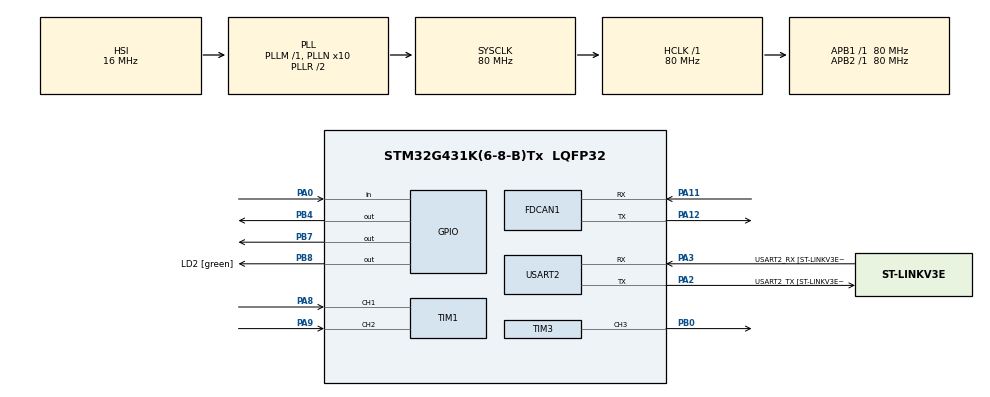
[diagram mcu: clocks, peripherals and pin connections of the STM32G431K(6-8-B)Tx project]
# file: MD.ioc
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FDCAN1.CalculateBaudRateNominal=1000000
FDCAN1.CalculateTimeBitNominal=1000
FDCAN1.CalculateTimeQuantumNominal=62.5
FDCAN1.DataPrescaler=5
FDCAN1.DataSyncJumpWidth=13
FDCAN1.DataTimeSeg1=10
FDCAN1.DataTimeSeg2=9
FDCAN1.FrameFormat=FDCAN_FRAME_FD_BRS
FDCAN1.NominalPrescaler=5
FDCAN1.NominalSyncJumpWidth=2
FDCAN1.NominalTimeSeg1=13
FDCAN1.NominalTimeSeg2=2
FDCAN1.StdFiltersNbr=1
Mcu.Family=STM32G4
Mcu.Name=STM32G431K(6-8-B)Tx
Mcu.Package=LQFP32
NVIC.FDCAN1_IT0_IRQn=true\:0\:0\:false\:false\:true\:true\:true\:true
NVIC.PriorityGroup=NVIC_PRIORITYGROUP_4
NVIC.TIM1_TRG_COM_TIM17_IRQn=true\:15\:0\:false\:false\:true\:false\:true\:true
NVIC.TIM2_IRQn=true\:0\:0\:false\:false\:true\:true\:true\:true
NVIC.TIM4_IRQn=true\:0\:0\:false\:false\:true\:true\:true\:true
NVIC.TimeBase=TIM1_TRG_COM_TIM17_IRQn
NVIC.TimeBaseIP=TIM17
NVIC.USART2_IRQn=true\:0\:0\:false\:false\:true\:true\:true\:true
PA0.GPIO_PuPd=GPIO_PULLDOWN
PA0.Signal=GPIO_Input
PA11.Mode=FDCAN_Activate
PA11.Signal=FDCAN1_RX
PA12.Mode=FDCAN_Activate
PA12.Signal=FDCAN1_TX
PA13.GPIO_Label=T_SWDIO
PA13.Mode=Serial_Wire
PA13.Signal=SYS_JTMS-SWDIO
PA14.GPIO_Label=T_SWCLK
PA14.Mode=Serial_Wire
PA14.Signal=SYS_JTCK-SWCLK
PA2.GPIO_Label=USART2_TX [ST-LINKV3E_VCP_RX]
PA2.Mode=Asynchronous
PA2.Signal=USART2_TX
PA3.GPIO_Label=USART2_RX [ST-LINKV3E_VCP_TX]
PA3.Mode=Asynchronous
PA3.Signal=USART2_RX
PA8.GPIO_PuPd=GPIO_PULLUP
PA8.Signal=S_TIM1_CH1
PA9.GPIO_PuPd=GPIO_PULLUP
PA9.Signal=S_TIM1_CH2
PB0.Signal=S_TIM3_CH3
PB3.GPIO_Label=T_SWO
PB3.Signal=SYS_JTDO-SWO
PB4.Signal=GPIO_Output
PB7.Signal=GPIO_Output
PB8-BOOT0.GPIO_Label=LD2 [green]
PB8-BOOT0.Signal=GPIO_Output
ProjectManager.HeapSize=0x200
ProjectManager.StackSize=0x400
ProjectManager.TargetToolchain=STM32CubeIDE
RCC.ADC12Freq_Value=80000000
RCC.AHBFreq_Value=80000000
RCC.APB1Freq_Value=80000000
RCC.APB1TimFreq_Value=80000000
RCC.APB2Freq_Value=80000000
RCC.APB2TimFreq_Value=80000000
RCC.CortexFreq_Value=80000000
RCC.EXTERNAL_CLOCK_VALUE=12288000
RCC.HCLKFreq_Value=80000000
RCC.HSE_VALUE=8000000
RCC.HSI48_VALUE=48000000
RCC.HSI_VALUE=16000000
RCC.LSE_VALUE=32768
RCC.PLLN=10
RCC.SYSCLKFreq_VALUE=80000000
RCC.SYSCLKSource=RCC_SYSCLKSOURCE_PLLCLK
RCC.USBFreq_Value=80000000
RCC.VCOOutputFreq_Value=160000000
SH.S_TIM1_CH1.0=TIM1_CH1,Encoder_Interface
SH.S_TIM1_CH2.0=TIM1_CH2,Encoder_Interface
SH.S_TIM3_CH3.0=TIM3_CH3,PWM Generation3 CH3
TIM1.EncoderMode=TIM_ENCODERMODE_TI12
TIM2.PeriodNoDither=10000-1
TIM2.Prescaler=80-1
TIM3.Channel-PWM\ Generation3\ CH3=TIM_CHANNEL_3
TIM3.PeriodNoDither=999
TIM3.Prescaler=8-1
TIM4.PeriodNoDither=9999
TIM4.Prescaler=160-1
USART2.VirtualMode-Asynchronous=VM_ASYNC
USART2.WordLength=WORDLENGTH_8B
VP_SYS_VS_tim17.Mode=TIM17
VP_TIM2_VS_ClockSourceINT.Mode=Internal
VP_TIM3_VS_ClockSourceINT.Mode=Internal
VP_TIM4_VS_ClockSourceINT.Mode=Internal
board=NUCLEO-G431KB

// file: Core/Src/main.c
/* USER CODE BEGIN Header */
/**
  ******************************************************************************
  * @file           : main.c
  * @brief          : Main program body
  ******************************************************************************
  * @attention
  *
  * Copyright (c) 2023 STMicroelectronics.
  * All rights reserved.
  *
  * This software is licensed under terms that can be found in the LICENSE file
  * in the root directory of this software component.
  * If no LICENSE file comes with this software, it is provided AS-IS.
  *
  ******************************************************************************
  */
/* USER CODE END Header */
#include "main.h"

/* USER CODE BEGIN Includes */
#include "stdlib.h"
#include "stdio.h"
#include "PID.h"
/* USER CODE END Includes */

/* USER CODE BEGIN PD */
#define ENCODER_PR 2000
#define PULLEY_RATIO 0.21f
#define FILTER_C 0.8f
#define POWER_LMT 350

#define kp 23.0f
#define ki 18.0f
#define kd 1.5f

#define POLARITY 0

#define UART_BUF_LEN 3

/* USER CODE END PD */

FDCAN_HandleTypeDef hfdcan1;

TIM_HandleTypeDef htim1;
TIM_HandleTypeDef htim2;
TIM_HandleTypeDef htim3;
TIM_HandleTypeDef htim4;

UART_HandleTypeDef huart2;

/* USER CODE BEGIN PV */

PIDparamshandleTypeDef hpid = {0}; // PID no tameno hensuu wo matometa yatsu (ER no dokusute 2ch MD no nagori)

float angle = 0; //Jissai no kakudo unit:degree
float target = 0; // Mokuhyou kakudo unit:degree
/* PID ga ugoiteiru aida ha "angle" wo "target" no atai ni siyou to suru */

int16_t enc_buff = 0;

int duty = 0;

uint8_t uart_buf[UART_BUF_LEN];
/* USER CODE END PV */

void SystemClock_Config(void);
static void MX_GPIO_Init(void);
static void MX_TIM1_Init(void);
static void MX_USART2_UART_Init(void);
static void MX_TIM3_Init(void);
static void MX_TIM2_Init(void);
static void MX_TIM4_Init(void);
static void MX_FDCAN1_Init(void);
/* USER CODE BEGIN PFP */
void find_origin();
/* USER CODE END PFP */

int main(void)
{
  /* USER CODE BEGIN 1 */
  setbuf(stdout, NULL);
  /* USER CODE END 1 */

  /* MCU Configuration--------------------------------------------------------*/

  /* Reset of all peripherals, Initializes the Flash interface and the Systick. */
  HAL_Init();

  /* Configure the system clock */
  SystemClock_Config();

  /* Initialize all configured peripherals */
  MX_GPIO_Init();
  MX_TIM1_Init();
  MX_USART2_UART_Init();
  MX_TIM3_Init();
  MX_TIM2_Init();
  MX_TIM4_Init();
  MX_FDCAN1_Init();
  /* USER CODE BEGIN 2 */
  SETPIDGAIN(&hpid, kp, ki, kd);

  HAL_TIM_PWM_Start(&htim3, TIM_CHANNEL_3);
  find_origin();
  HAL_TIM_Encoder_Start(&htim1, TIM_CHANNEL_ALL);
  HAL_TIM_Base_Start_IT(&htim2); // PID control
  HAL_TIM_Base_Start_IT(&htim4);

  HAL_UART_Receive_IT(&huart2, uart_buf, UART_BUF_LEN);
  /* USER CODE END 2 */

  /* Infinite loop */
  /* USER CODE BEGIN WHILE */
  while (1)
  {
//    __HAL_TIM_SET_COMPARE(&htim3, TIM_CHANNEL_3, 200);
    /* USER CODE END WHILE */

  }
}

void SystemClock_Config(void)
{
  RCC_OscInitTypeDef RCC_OscInitStruct = {0};
  RCC_ClkInitTypeDef RCC_ClkInitStruct = {0};

  /** Configure the main internal regulator output voltage
  */
  HAL_PWREx_ControlVoltageScaling(PWR_REGULATOR_VOLTAGE_SCALE1);

  /** Initializes the RCC Oscillators according to the specified parameters
  * in the RCC_OscInitTypeDef structure.
  */
  RCC_OscInitStruct.OscillatorType = RCC_OSCILLATORTYPE_HSI;
  RCC_OscInitStruct.HSIState = RCC_HSI_ON;
  RCC_OscInitStruct.HSICalibrationValue = RCC_HSICALIBRATION_DEFAULT;
  RCC_OscInitStruct.PLL.PLLState = RCC_PLL_ON;
  RCC_OscInitStruct.PLL.PLLSource = RCC_PLLSOURCE_HSI;
  RCC_OscInitStruct.PLL.PLLM = RCC_PLLM_DIV1;
  RCC_OscInitStruct.PLL.PLLN = 10;
  RCC_OscInitStruct.PLL.PLLP = RCC_PLLP_DIV2;
  RCC_OscInitStruct.PLL.PLLQ = RCC_PLLQ_DIV2;
  RCC_OscInitStruct.PLL.PLLR = RCC_PLLR_DIV2;
  if (HAL_RCC_OscConfig(&RCC_OscInitStruct) != HAL_OK)
  {
    Error_Handler();
  }

  /** Initializes the CPU, AHB and APB buses clocks
  */
  RCC_ClkInitStruct.ClockType = RCC_CLOCKTYPE_HCLK|RCC_CLOCKTYPE_SYSCLK
                              |RCC_CLOCKTYPE_PCLK1|RCC_CLOCKTYPE_PCLK2;
  RCC_ClkInitStruct.SYSCLKSource = RCC_SYSCLKSOURCE_PLLCLK;
  RCC_ClkInitStruct.AHBCLKDivider = RCC_SYSCLK_DIV1;
  RCC_ClkInitStruct.APB1CLKDivider = RCC_HCLK_DIV1;
  RCC_ClkInitStruct.APB2CLKDivider = RCC_HCLK_DIV1;

  if (HAL_RCC_ClockConfig(&RCC_ClkInitStruct, FLASH_LATENCY_2) != HAL_OK)
  {
    Error_Handler();
  }
}

static void MX_FDCAN1_Init(void)
{

  hfdcan1.Instance = FDCAN1;
  hfdcan1.Init.ClockDivider = FDCAN_CLOCK_DIV1;
  hfdcan1.Init.FrameFormat = FDCAN_FRAME_FD_BRS;
  hfdcan1.Init.Mode = FDCAN_MODE_NORMAL;
  hfdcan1.Init.AutoRetransmission = DISABLE;
  hfdcan1.Init.TransmitPause = DISABLE;
  hfdcan1.Init.ProtocolException = DISABLE;
  hfdcan1.Init.NominalPrescaler = 5;
  hfdcan1.Init.NominalSyncJumpWidth = 2;
  hfdcan1.Init.NominalTimeSeg1 = 13;
  hfdcan1.Init.NominalTimeSeg2 = 2;
  hfdcan1.Init.DataPrescaler = 5;
  hfdcan1.Init.DataSyncJumpWidth = 13;
  hfdcan1.Init.DataTimeSeg1 = 10;
  hfdcan1.Init.DataTimeSeg2 = 9;
  hfdcan1.Init.StdFiltersNbr = 1;
  hfdcan1.Init.ExtFiltersNbr = 0;
  hfdcan1.Init.TxFifoQueueMode = FDCAN_TX_FIFO_OPERATION;
  if (HAL_FDCAN_Init(&hfdcan1) != HAL_OK)
  {
    Error_Handler();
  }

}

static void MX_TIM1_Init(void)
{

  TIM_Encoder_InitTypeDef sConfig = {0};
  TIM_MasterConfigTypeDef sMasterConfig = {0};

  htim1.Instance = TIM1;
  htim1.Init.Prescaler = 0;
  htim1.Init.CounterMode = TIM_COUNTERMODE_UP;
  htim1.Init.Period = 65535;
  htim1.Init.ClockDivision = TIM_CLOCKDIVISION_DIV1;
  htim1.Init.RepetitionCounter = 0;
  htim1.Init.AutoReloadPreload = TIM_AUTORELOAD_PRELOAD_DISABLE;
  sConfig.EncoderMode = TIM_ENCODERMODE_TI12;
  sConfig.IC1Polarity = TIM_ICPOLARITY_RISING;
  sConfig.IC1Selection = TIM_ICSELECTION_DIRECTTI;
  sConfig.IC1Prescaler = TIM_ICPSC_DIV1;
  sConfig.IC1Filter = 0;
  sConfig.IC2Polarity = TIM_ICPOLARITY_RISING;
  sConfig.IC2Selection = TIM_ICSELECTION_DIRECTTI;
  sConfig.IC2Prescaler = TIM_ICPSC_DIV1;
  sConfig.IC2Filter = 0;
  if (HAL_TIM_Encoder_Init(&htim1, &sConfig) != HAL_OK)
  {
    Error_Handler();
  }
  sMasterConfig.MasterOutputTrigger = TIM_TRGO_RESET;
  sMasterConfig.MasterOutputTrigger2 = TIM_TRGO2_RESET;
  sMasterConfig.MasterSlaveMode = TIM_MASTERSLAVEMODE_DISABLE;
  if (HAL_TIMEx_MasterConfigSynchronization(&htim1, &sMasterConfig) != HAL_OK)
  {
    Error_Handler();
  }

}

static void MX_TIM2_Init(void)
{

  TIM_ClockConfigTypeDef sClockSourceConfig = {0};
  TIM_MasterConfigTypeDef sMasterConfig = {0};

  htim2.Instance = TIM2;
  htim2.Init.Prescaler = 80-1;
  htim2.Init.CounterMode = TIM_COUNTERMODE_UP;
  htim2.Init.Period = 9999;
  htim2.Init.ClockDivision = TIM_CLOCKDIVISION_DIV1;
  htim2.Init.AutoReloadPreload = TIM_AUTORELOAD_PRELOAD_DISABLE;
  if (HAL_TIM_Base_Init(&htim2) != HAL_OK)
  {
    Error_Handler();
  }
  sClockSourceConfig.ClockSource = TIM_CLOCKSOURCE_INTERNAL;
  if (HAL_TIM_ConfigClockSource(&htim2, &sClockSourceConfig) != HAL_OK)
  {
    Error_Handler();
  }
  sMasterConfig.MasterOutputTrigger = TIM_TRGO_RESET;
  sMasterConfig.MasterSlaveMode = TIM_MASTERSLAVEMODE_DISABLE;
  if (HAL_TIMEx_MasterConfigSynchronization(&htim2, &sMasterConfig) != HAL_OK)
  {
    Error_Handler();
  }

}

static void MX_TIM3_Init(void)
{

  TIM_ClockConfigTypeDef sClockSourceConfig = {0};
  TIM_MasterConfigTypeDef sMasterConfig = {0};
  TIM_OC_InitTypeDef sConfigOC = {0};

  htim3.Instance = TIM3;
  htim3.Init.Prescaler = 8-1;
  htim3.Init.CounterMode = TIM_COUNTERMODE_UP;
  htim3.Init.Period = 999;
  htim3.Init.ClockDivision = TIM_CLOCKDIVISION_DIV1;
  htim3.Init.AutoReloadPreload = TIM_AUTORELOAD_PRELOAD_DISABLE;
  if (HAL_TIM_Base_Init(&htim3) != HAL_OK)
  {
    Error_Handler();
  }
  sClockSourceConfig.ClockSource = TIM_CLOCKSOURCE_INTERNAL;
  if (HAL_TIM_ConfigClockSource(&htim3, &sClockSourceConfig) != HAL_OK)
  {
    Error_Handler();
  }
  if (HAL_TIM_PWM_Init(&htim3) != HAL_OK)
  {
    Error_Handler();
  }
  sMasterConfig.MasterOutputTrigger = TIM_TRGO_RESET;
  sMasterConfig.MasterSlaveMode = TIM_MASTERSLAVEMODE_DISABLE;
  if (HAL_TIMEx_MasterConfigSynchronization(&htim3, &sMasterConfig) != HAL_OK)
  {
    Error_Handler();
  }
  sConfigOC.OCMode = TIM_OCMODE_PWM1;
  sConfigOC.Pulse = 0;
  sConfigOC.OCPolarity = TIM_OCPOLARITY_HIGH;
  sConfigOC.OCFastMode = TIM_OCFAST_DISABLE;
  if (HAL_TIM_PWM_ConfigChannel(&htim3, &sConfigOC, TIM_CHANNEL_3) != HAL_OK)
  {
    Error_Handler();
  }
  HAL_TIM_MspPostInit(&htim3);

}

static void MX_TIM4_Init(void)
{

  TIM_ClockConfigTypeDef sClockSourceConfig = {0};
  TIM_MasterConfigTypeDef sMasterConfig = {0};

  htim4.Instance = TIM4;
  htim4.Init.Prescaler = 160-1;
  htim4.Init.CounterMode = TIM_COUNTERMODE_UP;
  htim4.Init.Period = 9999;
  htim4.Init.ClockDivision = TIM_CLOCKDIVISION_DIV1;
  htim4.Init.AutoReloadPreload = TIM_AUTORELOAD_PRELOAD_DISABLE;
  if (HAL_TIM_Base_Init(&htim4) != HAL_OK)
  {
    Error_Handler();
  }
  sClockSourceConfig.ClockSource = TIM_CLOCKSOURCE_INTERNAL;
  if (HAL_TIM_ConfigClockSource(&htim4, &sClockSourceConfig) != HAL_OK)
  {
    Error_Handler();
  }
  sMasterConfig.MasterOutputTrigger = TIM_TRGO_RESET;
  sMasterConfig.MasterSlaveMode = TIM_MASTERSLAVEMODE_DISABLE;
  if (HAL_TIMEx_MasterConfigSynchronization(&htim4, &sMasterConfig) != HAL_OK)
  {
    Error_Handler();
  }

}

static void MX_USART2_UART_Init(void)
{

  huart2.Instance = USART2;
  huart2.Init.BaudRate = 115200;
  huart2.Init.WordLength = UART_WORDLENGTH_8B;
  huart2.Init.StopBits = UART_STOPBITS_1;
  huart2.Init.Parity = UART_PARITY_NONE;
  huart2.Init.Mode = UART_MODE_TX_RX;
  huart2.Init.HwFlowCtl = UART_HWCONTROL_NONE;
  huart2.Init.OverSampling = UART_OVERSAMPLING_16;
  huart2.Init.OneBitSampling = UART_ONE_BIT_SAMPLE_DISABLE;
  huart2.Init.ClockPrescaler = UART_PRESCALER_DIV1;
  huart2.AdvancedInit.AdvFeatureInit = UART_ADVFEATURE_NO_INIT;
  if (HAL_UART_Init(&huart2) != HAL_OK)
  {
    Error_Handler();
  }
  if (HAL_UARTEx_SetTxFifoThreshold(&huart2, UART_TXFIFO_THRESHOLD_1_8) != HAL_OK)
  {
    Error_Handler();
  }
  if (HAL_UARTEx_SetRxFifoThreshold(&huart2, UART_RXFIFO_THRESHOLD_1_8) != HAL_OK)
  {
    Error_Handler();
  }
  if (HAL_UARTEx_DisableFifoMode(&huart2) != HAL_OK)
  {
    Error_Handler();
  }

}

static void MX_GPIO_Init(void)
{
  GPIO_InitTypeDef GPIO_InitStruct = {0};

  /* GPIO Ports Clock Enable */
  __HAL_RCC_GPIOA_CLK_ENABLE();
  __HAL_RCC_GPIOB_CLK_ENABLE();

  /*Configure GPIO pin Output Level */
  HAL_GPIO_WritePin(GPIOB, GPIO_PIN_4|GPIO_PIN_7|LD2_Pin, GPIO_PIN_RESET);

  /*Configure GPIO pin : PA0 */
  GPIO_InitStruct.Pin = GPIO_PIN_0;
  GPIO_InitStruct.Mode = GPIO_MODE_INPUT;
  GPIO_InitStruct.Pull = GPIO_PULLDOWN;
  HAL_GPIO_Init(GPIOA, &GPIO_InitStruct);

  /*Configure GPIO pins : PB4 PB7 LD2_Pin */
  GPIO_InitStruct.Pin = GPIO_PIN_4|GPIO_PIN_7|LD2_Pin;
  GPIO_InitStruct.Mode = GPIO_MODE_OUTPUT_PP;
  GPIO_InitStruct.Pull = GPIO_NOPULL;
  GPIO_InitStruct.Speed = GPIO_SPEED_FREQ_LOW;
  HAL_GPIO_Init(GPIOB, &GPIO_InitStruct);

}

/* USER CODE BEGIN 4 */
int _write(int file, char *ptr, int len) {
  HAL_UART_Transmit(&huart2, (uint8_t *)ptr, len, 10);
  return len;
}

float counter_to_deg(int count) {
  return (float)count / (float)(ENCODER_PR) * 360.0f * PULLEY_RATIO;
}

void find_origin() {
//  ichido PID control wo mukouka suru
  HAL_TIM_Encoder_Stop(&htim1, TIM_CHANNEL_ALL);
  HAL_TIM_Base_Stop_IT(&htim2);
  HAL_TIM_PWM_Start(&htim3, TIM_CHANNEL_3);

//  Origin switch wo sagasu
  while (HAL_GPIO_ReadPin(GPIOA, GPIO_PIN_0) == GPIO_PIN_RESET) {
    __HAL_TIM_SET_COMPARE(&htim3, TIM_CHANNEL_3, 50);
  }
  __HAL_TIM_SET_COMPARE(&htim3, TIM_CHANNEL_3, 0);
  angle = 0;
  __HAL_TIM_SET_COUNTER(&htim1, 0);

//  saido PID wo yuukou ni suru
  HAL_TIM_Encoder_Start(&htim1, TIM_CHANNEL_ALL);
  HAL_TIM_Base_Start_IT(&htim2);

  target = 45;
}

void HAL_UART_RxCpltCallback(UART_HandleTypeDef *huart) {
  if (huart -> Instance == USART2) {
    int val = atoi(uart_buf);
    target = (float)val;
    HAL_UART_Receive_IT(&huart2, uart_buf, UART_BUF_LEN);
  }
}

/* USER CODE END 4 */

void HAL_TIM_PeriodElapsedCallback(TIM_HandleTypeDef *htim)
{
  if (htim->Instance == TIM17) {
    HAL_IncTick();
  }
  /* USER CODE BEGIN Callback 1 */
  if (htim -> Instance == TIM2) {
  /* Timer Interrupt(100Hz) */

  // kakudo wo yomitoru
    enc_buff = __HAL_TIM_GET_COUNTER(&htim1);
    __HAL_TIM_SET_COUNTER(&htim1, 0);
    angle += counter_to_deg(enc_buff);

  // PID no keisann
    duty = calc_PID(&hpid, target, angle, 0.01f);

  // syuturyoku no jougenn ya anti-windup no settei
    if (duty > POWER_LMT) {
      duty = POWER_LMT;
      SETWINDUPFLAG(&hpid, 1);
    } else if (duty < (-1 * POWER_LMT)) {
      duty = -1 * POWER_LMT;
      SETWINDUPFLAG(&hpid, 1);
    } else {
      SETWINDUPFLAG(&hpid, 0);
    }

  // PWM to kaitennhoukou no syutsuryoku
#if POLARITY == 0
        if (duty > 0) {
          HAL_GPIO_WritePin(GPIOB, GPIO_PIN_7, GPIO_PIN_RESET);
        } else {
          HAL_GPIO_WritePin(GPIOB, GPIO_PIN_7, GPIO_PIN_SET);
        }
#else
        if (duty > 0) {
          HAL_GPIO_WritePin(GPIOB, GPIO_PIN_7, GPIO_PIN_SET);
        } else {
          HAL_GPIO_WritePin(GPIOB, GPIO_PIN_7, GPIO_PIN_RESET);
        }
#endif
    __HAL_TIM_SET_COMPARE(&htim3, TIM_CHANNEL_3, abs(duty));
  }

  if (htim -> Instance == TIM4) {
    /* Timer Interrupt(50Hz) */
//todo koko ni CAN de kakudo wo nagasu Code wo kakeba 50Hz de kakudo ga syuturyoku sareru

 printf("%.2f, %.2f, %d\r\n", angle, target, duty);

  }

  /* USER CODE END Callback 1 */
}

void Error_Handler(void)
{
  __disable_irq();
  while (1)
  {
  }
}
